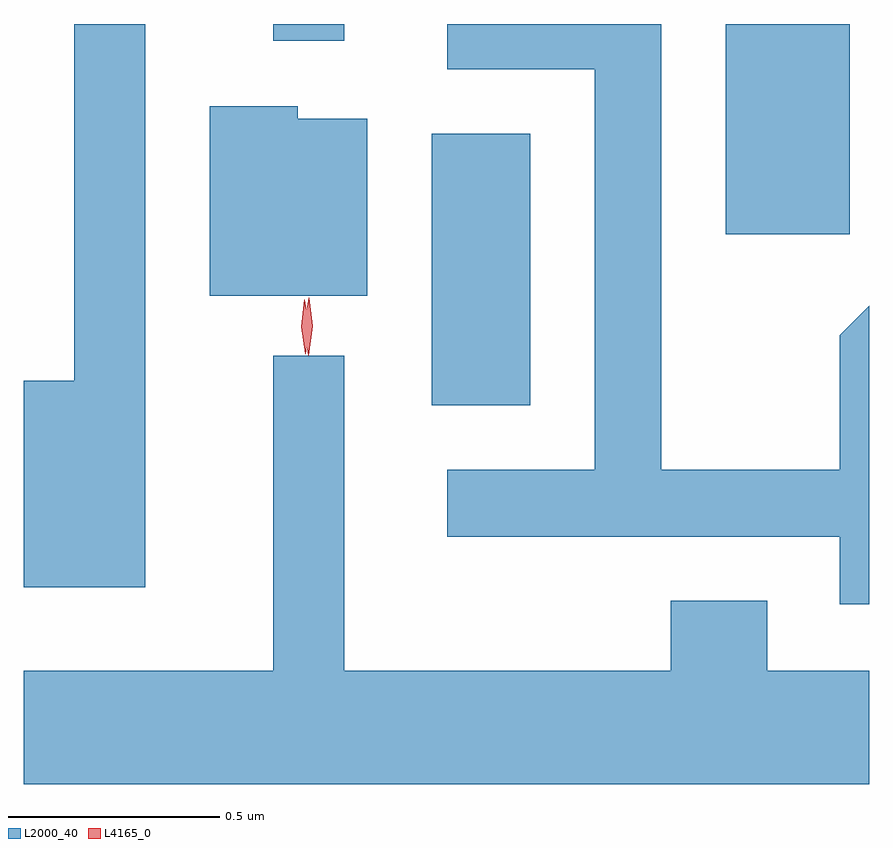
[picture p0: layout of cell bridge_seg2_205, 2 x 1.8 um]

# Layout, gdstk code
import gdstk
lib = gdstk.Library(unit=1e-6, precision=1e-09)
def R(c, l, rs):  # rectangles x0, y0, x1, y1
    for r in rs: c.add(gdstk.rectangle(r[:2], r[2:], *l))
def P(c, l, *ps):  # polygons
    for p in ps: c.add(gdstk.Polygon(p, *l))
L2000_40 = (2000, 40)
L4165_0 = (4165, 0)

bridge_seg2_205 = lib.new_cell('bridge_seg2_205')
R(bridge_seg2_205, L2000_40, [(742.156,995.931,742.389,996.574), (742.851,996.336,743.144,996.833), (741.781,996.793,741.949,996.833)])
P(bridge_seg2_205, L2000_40, [(741.479,996.833),(741.311,996.833),(741.311,995.989),(741.191,995.989),(741.191,995.501),(741.479,995.501)],
  [(743.191,996.167),(743.121,996.097),(743.121,995.779),(742.699,995.779),(742.699,996.833),(742.193,996.833),(742.193,996.726),(742.541,996.726),(742.541,995.779),(742.193,995.779),(742.193,995.621),(743.121,995.621),(743.121,995.461),(743.191,995.461)],
  [(742.004,996.609),(741.839,996.609),(741.839,996.639),(741.631,996.639),(741.631,996.191),(742.004,996.191)],
  [(743.191,995.304),(742.949,995.304),(742.949,995.469),(742.721,995.469),(742.721,995.304),(741.949,995.304),(741.949,996.048),(741.781,996.048),(741.781,995.304),(741.191,995.304),(741.191,995.036),(743.191,995.036)])
P(bridge_seg2_205, L4165_0, [(741.865,996.049),(741.864,996.05),(741.855,996.118),(741.865,996.186),(741.866,996.186),(741.866,996.186),(741.875,996.118),(741.865,996.05)],
  [(741.858,996.052),(741.857,996.053),(741.847,996.117),(741.855,996.181),(741.855,996.181),(741.856,996.181),(741.866,996.117),(741.858,996.053)])

lib.write_gds('bridge_seg2_205.gds')
